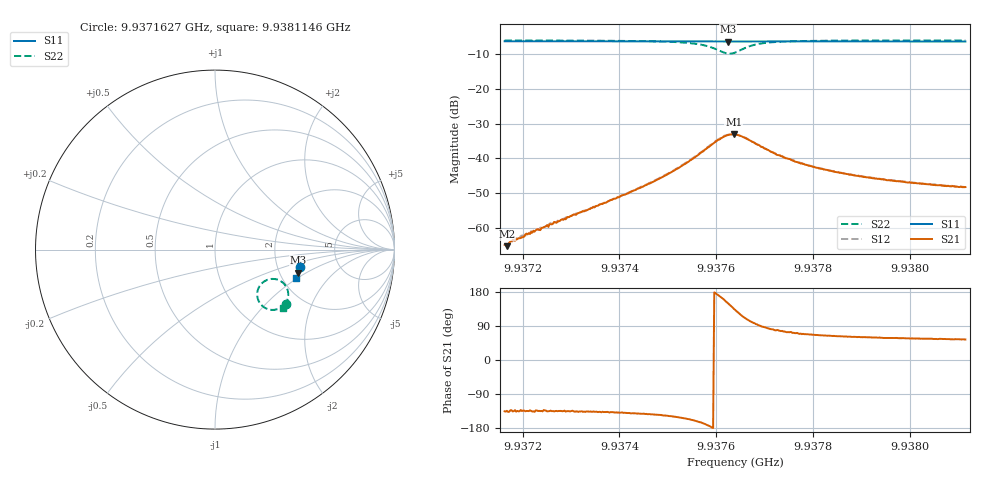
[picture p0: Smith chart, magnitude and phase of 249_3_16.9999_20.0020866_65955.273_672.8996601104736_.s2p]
#  HZ  S  RI  R  50.00
! Rohde & Schwarz Vector Network Analyzer
! Rohde-Schwarz,ZNB20-2Port,1311601062101988,3.16
! Created: UTC 3/20/2024, 11:03:13 PM
! freq[Hz]  re:S11  im:S11  re:S21  im:S21  re:S12  im:S12  re:S22  im:S22
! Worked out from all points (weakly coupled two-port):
!   401 points, 9.9371627 GHz to 9.9381146 GHz, reference 50 ohm
!   highest |S21| = -33.06 dB at 9.9376362 GHz (marker M1); lowest = -65.2 dB at 9.9371675 GHz (marker M2)
!   lowest |S11| = -6.4 dB at 9.9376244 GHz (marker M3), VSWR 2.84, Z = 126 - j41.8 ohm
!   |S11| at or under -10 dB: nowhere
!   |S22| runs from -9.9 to -6.1 dB; largest |S21 - S12| = 0.00085
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9.9371627e9  0.4741 -0.0979  -0.000408 -0.000403  -0.000403 -0.000382  0.3954 -0.3012
9.93716746e9  0.4739 -0.0983  -0.000382 -0.000394  -0.000419 -0.000414  0.3951 -0.3016
9.93717698e9  0.4738 -0.0988  -0.000437 -0.000477  -0.000453 -0.000431  0.3942 -0.3022
9.93719602e9  0.4734 -0.1002  -0.000481 -0.000532  -0.000538 -0.000549  0.3927 -0.3038
9.93722695e9  0.4728 -0.1023  -0.000635 -0.000678  -0.000662 -0.000654  0.3903 -0.3063
9.93726027e9  0.4721 -0.1046  -0.0008 -0.0008  -0.000871 -0.000833  0.3873 -0.3089
9.93732214e9  0.4708 -0.1089  -0.00122 -0.00121  -0.00125 -0.00117  0.3808 -0.3145
9.93741494e9  0.469 -0.115  -0.00238 -0.00201  -0.00244 -0.002  0.3662 -0.3242
9.93748157e9  0.4674 -0.1195  -0.00418 -0.00292  -0.0043 -0.0029  0.3473 -0.3322
9.93752679e9  0.4662 -0.1227  -0.00678 -0.0036  -0.00697 -0.00355  0.3234 -0.3359
9.93757438e9  0.4644 -0.1257  -0.0126 -0.00272  -0.013 -0.00255  0.2751 -0.3226
9.93760531e9  0.463 -0.1272  -0.0183 0.00324  -0.0187 0.00373  0.237 -0.2677
9.93762435e9  0.4621 -0.1276  -0.0187 0.0111  -0.0186 0.0117  0.2468 -0.2062
9.93763625e9  0.4623 -0.1278  -0.0157 0.0157  -0.0156 0.0163  0.2773 -0.1753
9.93763863e9  0.4623 -0.1278  -0.015 0.0163  -0.0145 0.017  0.2848 -0.1715
9.9376648e9  0.4629 -0.1292  -0.00529 0.0181  -0.00475 0.0184  0.3618 -0.1731
9.93769336e9  0.4629 -0.1313  0.000366 0.0146  0.000673 0.0147  0.3985 -0.2102
9.93774571e9  0.4622 -0.1352  0.00289 0.00965  0.00297 0.00956  0.4081 -0.2561
9.93779806e9  0.4609 -0.1388  0.00302 0.00705  0.00317 0.00705  0.4038 -0.279
9.93787897e9  0.4589 -0.1443  0.00279 0.00512  0.00294 0.00509  0.3952 -0.2979
9.9379575e9  0.4569 -0.1496  0.00254 0.00412  0.00266 0.00415  0.3883 -0.3088
9.93811455e9  0.4529 -0.1598  0.00227 0.00314  0.00231 0.00312  0.3768 -0.3236
